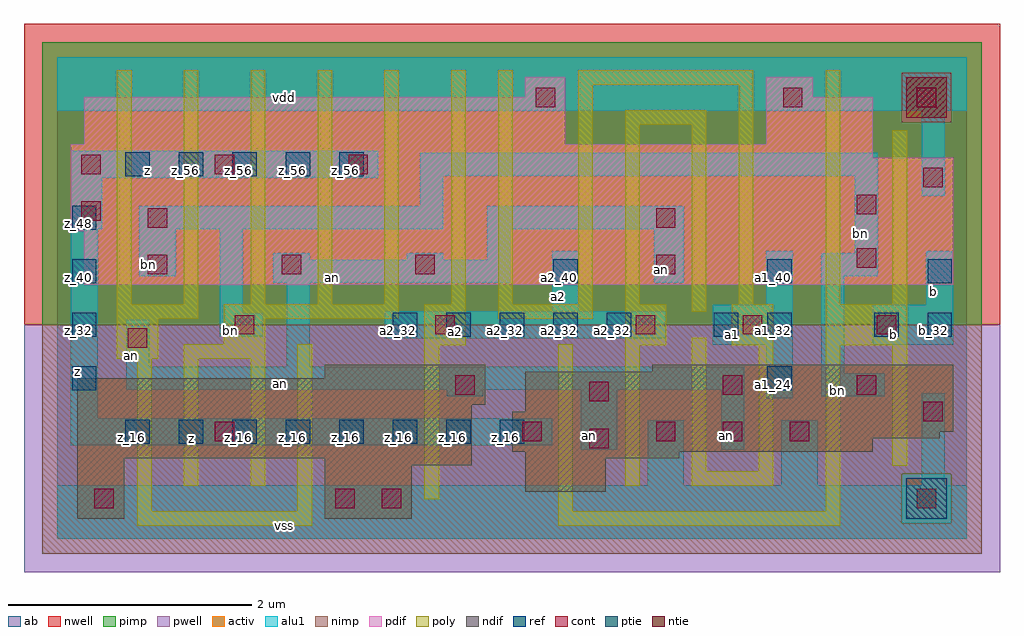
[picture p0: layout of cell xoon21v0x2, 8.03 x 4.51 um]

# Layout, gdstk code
import gdstk
lib = gdstk.Library(unit=1e-6, precision=2.5e-09)
def R(c, l, rs):  # rectangles x0, y0, x1, y1
    for r in rs: c.add(gdstk.rectangle(r[:2], r[2:], *l))
def A(c, l, x, y, w, h, nx, ny, dx, dy):  # array of equal rectangles
    R(c, l, [(x+i*dx, y+j*dy, x+i*dx+w, y+j*dy+h) for i in range(nx) for j in range(ny)])
ndif = (3, 0)
pdif = (4, 0)
ntie = (5, 0)
ptie = (6, 0)
ref = (24, 0)
cont = (25, 0)
pwell = (41, 0)
nwell = (42, 0)
activ = (43, 0)
pimp = (44, 0)
nimp = (45, 0)
poly = (46, 0)
alu1 = (49, 0)
ab = (63, 0)

xoon21v0x2 = lib.new_cell('xoon21v0x2')
R(xoon21v0x2, ndif, [(0.165,0.165,0.55,0.66), (2.2,0.165,2.915,0.605), (3.85,0.385,4.51,0.66), (2.2,0.605,3.41,0.66), (0.165,0.66,3.41,1.1), (3.85,0.66,5.115,0.715), (3.74,0.715,6.71,0.825), (3.74,0.825,7.26,0.88), (3.74,0.88,7.37,1.045), (3.85,1.045,7.37,1.375), (0.165,1.1,3.52,1.32), (2.2,1.32,3.52,1.43), (4.895,1.375,7.37,1.43)])
R(xoon21v0x2, pdif, [(0.22,2.09,7.37,2.53), (0.11,2.53,7.37,3.135), (0.11,3.135,6.71,3.245), (0.22,3.245,4.18,3.63), (5.83,3.245,6.71,3.63), (3.85,3.63,4.18,3.795), (5.83,3.63,6.215,3.795)])
R(xoon21v0x2, ntie, [(6.985,3.465,7.315,3.795)])
R(xoon21v0x2, ptie, [(6.985,0.165,7.315,0.495)])
A(xoon21v0x2, ref, 0.56, 0.78, 0.2, 0.2, 8, 1, 0.44, 0)
A(xoon21v0x2, ref, 0.12, 1.22, 0.2, 0.2, 1, 4, 0, 0.44)
A(xoon21v0x2, ref, 5.84, 1.22, 0.2, 0.2, 1, 3, 0, 0.44)
A(xoon21v0x2, ref, 2.76, 1.66, 0.2, 0.2, 5, 1, 0.44, 0)
A(xoon21v0x2, ref, 0.56, 2.98, 0.2, 0.2, 5, 1, 0.44, 0)
R(xoon21v0x2, ref, [(5.4,1.66,5.6,1.86), (6.72,1.66,6.92,1.86), (7.16,1.66,7.36,1.86), (4.08,2.1,4.28,2.3), (7.16,2.1,7.36,2.3)])
A(xoon21v0x2, cont, 4.925, 0.8, 0.16, 0.16, 3, 1, 0.55, 0)
A(xoon21v0x2, cont, 1.46, 1.68, 0.16, 0.16, 3, 1, 1.65, 0)
A(xoon21v0x2, cont, 0.745, 2.175, 0.16, 0.16, 3, 1, 1.1, 0)
A(xoon21v0x2, cont, 0.195, 3, 0.16, 0.16, 3, 1, 1.1, 0)
R(xoon21v0x2, cont, [(0.305,0.25,0.465,0.41), (2.285,0.25,2.445,0.41), (2.67,0.25,2.83,0.41), (7.07,0.25,7.23,0.41), (4.375,0.745,4.535,0.905), (1.295,0.8,1.455,0.96), (3.825,0.8,3.985,0.96), (7.125,0.965,7.285,1.125), (4.375,1.13,4.535,1.29), (3.275,1.185,3.435,1.345), (5.475,1.185,5.635,1.345), (6.575,1.185,6.735,1.345), (0.58,1.57,0.74,1.73), (5.64,1.68,5.8,1.84), (6.74,1.68,6.9,1.84), (4.925,2.175,5.085,2.335), (6.575,2.23,6.735,2.39), (0.745,2.56,0.905,2.72), (4.925,2.56,5.085,2.72), (0.195,2.615,0.355,2.775), (6.575,2.67,6.735,2.83), (7.125,2.89,7.285,3.05), (3.935,3.55,4.095,3.71), (5.97,3.55,6.13,3.71), (7.07,3.55,7.23,3.71)])
R(xoon21v0x2, pwell, [(-0.275,-0.275,7.755,1.76)])
R(xoon21v0x2, nwell, [(-0.275,1.76,7.755,4.235)])
R(xoon21v0x2, activ, [(0.165,0.165,0.55,0.66), (2.2,0.165,2.915,0.605), (6.985,0.165,7.315,0.495), (3.85,0.385,4.51,0.66), (2.2,0.605,3.41,0.66), (0.165,0.66,3.41,1.1), (3.85,0.66,5.115,0.715), (3.74,0.715,6.71,0.825), (3.74,0.825,7.26,0.88), (3.74,0.88,7.37,1.045), (3.85,1.045,7.37,1.375), (0.165,1.1,3.52,1.32), (2.2,1.32,3.52,1.43), (4.895,1.375,7.37,1.43), (0.22,2.09,7.37,2.53), (0.11,2.53,7.37,3.135), (0.11,3.135,6.71,3.245), (0.22,3.245,4.18,3.63), (5.83,3.245,6.71,3.63), (6.985,3.465,7.315,3.795), (3.85,3.63,4.18,3.795), (5.83,3.63,6.215,3.795)])
R(xoon21v0x2, pimp, [(6.945,0.125,7.355,0.535), (-0.125,1.76,7.605,3.425), (-0.125,3.425,6.945,3.835), (7.355,3.425,7.605,3.835), (-0.125,3.835,7.605,4.085)])
R(xoon21v0x2, nimp, [(-0.125,-0.125,7.605,0.125), (-0.125,0.125,6.945,0.535), (7.355,0.125,7.605,0.535), (-0.125,0.535,7.605,1.76), (6.945,3.425,7.355,3.835)])
A(xoon21v0x2, poly, 0.49, 1.93, 0.12, 1.925, 6, 1, 0.55, 0)
R(xoon21v0x2, poly, [(0.655,0.105,2.095,0.225), (4.12,0.105,6.44,0.225), (0.655,0.225,0.775,1.48), (1.975,0.225,2.095,1.6), (4.12,0.225,4.24,1.6), (6.32,0.225,6.44,1.59), (3.02,0.325,3.14,1.59), (1.04,0.435,1.16,1.48), (1.59,0.435,1.71,1.48), (4.67,0.435,4.79,1.59), (5.22,0.435,5.89,0.555), (5.22,0.555,5.34,1.655), (5.77,0.555,5.89,1.59), (6.87,0.6,6.99,1.59), (0.49,1.48,0.83,1.81), (1.04,1.48,1.71,1.6), (3.02,1.59,3.36,1.93), (4.67,1.59,5.01,1.93), (5.55,1.59,5.89,1.93), (6.32,1.59,6.99,1.93), (1.37,1.6,1.71,1.81), (0.49,1.81,1.16,1.93), (1.37,1.81,2.81,1.93), (3.625,1.81,4.405,1.93), (5.22,1.865,5.34,3.405), (3.625,1.93,3.745,3.855), (4.285,1.93,4.405,3.735), (4.67,1.93,4.79,3.405), (5.605,1.93,5.725,3.735), (6.32,1.93,6.44,3.855), (6.87,1.93,6.99,3.36), (4.67,3.405,5.34,3.525), (4.285,3.735,5.725,3.855)])
R(xoon21v0x2, alu1, [(0,0,7.48,0.44), (4.855,0.44,5.155,0.975), (5.955,0.44,6.255,0.975), (7.11,0.44,7.3,1.195), (4.305,0.73,4.605,1.225), (5.46,0.73,5.65,1.225), (0.11,0.77,4.07,0.99), (0.11,0.99,0.33,2.545), (5.83,1.155,6.05,1.595), (3.205,1.17,3.505,1.225), (6.285,1.17,6.805,1.36), (0.565,1.225,5.65,1.415), (6.285,1.36,6.475,2.16), (0.565,1.415,0.755,1.8), (1.885,1.415,2.075,2.105), (5.39,1.595,6.05,1.925), (6.71,1.595,7.37,1.925), (2.695,1.65,5.005,1.87), (1.335,1.665,1.69,1.855), (1.335,1.855,1.525,2.545), (4.07,1.87,4.29,2.365), (5.83,1.925,6.05,2.365), (7.15,1.925,7.37,2.365), (1.775,2.105,3.725,2.295), (4.91,2.105,5.155,2.545), (0.675,2.16,0.975,2.545), (6.285,2.16,6.75,2.35), (1.775,2.295,2.075,2.35), (2.875,2.295,3.175,2.35), (3.535,2.295,3.725,2.545), (6.56,2.35,6.75,2.985), (0.11,2.545,0.37,2.97), (0.675,2.545,3.175,2.735), (3.535,2.545,5.155,2.735), (2.985,2.735,3.175,2.985), (7.11,2.82,7.3,3.52), (0.11,2.97,2.64,3.19), (2.985,2.985,6.75,3.175), (0,3.52,7.48,3.96)])
R(xoon21v0x2, ab, [(0,0,7.48,3.96)])
xoon21v0x2.add(gdstk.Label('vss', (1.87,0.11), layer=49, texttype=0))
xoon21v0x2.add(gdstk.Label('bn', (6.415,1.2175), layer=49, texttype=0))
xoon21v0x2.add(gdstk.Label('b', (6.875,1.6775), layer=49, texttype=0))
xoon21v0x2.add(gdstk.Label('b', (7.205,2.035), layer=49, texttype=0))
xoon21v0x2.add(gdstk.Label('an', (5.5075,0.8525), layer=49, texttype=0))
xoon21v0x2.add(gdstk.Label('an', (4.38,0.8525), layer=49, texttype=0))
xoon21v0x2.add(gdstk.Label('z', (1.1,0.825), layer=49, texttype=0))
xoon21v0x2.add(gdstk.Label('an', (1.835,1.2725), layer=49, texttype=0))
xoon21v0x2.add(gdstk.Label('a1', (5.555,1.6775), layer=49, texttype=0))
xoon21v0x2.add(gdstk.Label('a2', (3.2725,1.705), layer=49, texttype=0))
xoon21v0x2.add(gdstk.Label('bn', (6.6075,2.5075), layer=49, texttype=0))
xoon21v0x2.add(gdstk.Label('an', (4.97,2.215), layer=49, texttype=0))
xoon21v0x2.add(gdstk.Label('a2', (4.125,1.9925), layer=49, texttype=0))
xoon21v0x2.add(gdstk.Label('bn', (1.4225,1.7125), layer=49, texttype=0))
xoon21v0x2.add(gdstk.Label('an', (0.6125,1.51), layer=49, texttype=0))
xoon21v0x2.add(gdstk.Label('an', (2.2625,2.1525), layer=49, texttype=0))
xoon21v0x2.add(gdstk.Label('bn', (0.75,2.255), layer=49, texttype=0))
xoon21v0x2.add(gdstk.Label('z', (0.165,1.3775), layer=49, texttype=0))
xoon21v0x2.add(gdstk.Label('z', (0.7425,3.025), layer=49, texttype=0))
xoon21v0x2.add(gdstk.Label('vdd', (1.87,3.63), layer=49, texttype=0))
xoon21v0x2.add(gdstk.Label('a2_32', (4.57,1.71), layer=24, texttype=0))
xoon21v0x2.add(gdstk.Label('a2_40', (4.13,2.15), layer=24, texttype=0))
xoon21v0x2.add(gdstk.Label('a2_32', (4.13,1.71), layer=24, texttype=0))
xoon21v0x2.add(gdstk.Label('a2_32', (3.69,1.71), layer=24, texttype=0))
xoon21v0x2.add(gdstk.Label('z_16', (3.69,0.83), layer=24, texttype=0))
xoon21v0x2.add(gdstk.Label('a2_32', (3.25,1.71), layer=24, texttype=0))
xoon21v0x2.add(gdstk.Label('z_16', (3.25,0.83), layer=24, texttype=0))
xoon21v0x2.add(gdstk.Label('a2_32', (2.81,1.71), layer=24, texttype=0))
xoon21v0x2.add(gdstk.Label('z_16', (2.81,0.83), layer=24, texttype=0))
xoon21v0x2.add(gdstk.Label('z_56', (2.37,3.03), layer=24, texttype=0))
xoon21v0x2.add(gdstk.Label('z_16', (2.37,0.83), layer=24, texttype=0))
xoon21v0x2.add(gdstk.Label('z_48', (0.17,2.59), layer=24, texttype=0))
xoon21v0x2.add(gdstk.Label('z_40', (0.17,2.15), layer=24, texttype=0))
xoon21v0x2.add(gdstk.Label('z_32', (0.17,1.71), layer=24, texttype=0))
xoon21v0x2.add(gdstk.Label('z_24', (0.17,1.27), layer=24, texttype=0))
xoon21v0x2.add(gdstk.Label('z_56', (1.93,3.03), layer=24, texttype=0))
xoon21v0x2.add(gdstk.Label('z_16', (1.93,0.83), layer=24, texttype=0))
xoon21v0x2.add(gdstk.Label('z_56', (1.49,3.03), layer=24, texttype=0))
xoon21v0x2.add(gdstk.Label('z_16', (1.49,0.83), layer=24, texttype=0))
xoon21v0x2.add(gdstk.Label('z_56', (1.05,3.03), layer=24, texttype=0))
xoon21v0x2.add(gdstk.Label('z_16', (1.05,0.83), layer=24, texttype=0))
xoon21v0x2.add(gdstk.Label('b_40', (7.21,2.15), layer=24, texttype=0))
xoon21v0x2.add(gdstk.Label('b_32', (7.21,1.71), layer=24, texttype=0))
xoon21v0x2.add(gdstk.Label('b_32', (6.77,1.71), layer=24, texttype=0))
xoon21v0x2.add(gdstk.Label('z_56', (0.61,3.03), layer=24, texttype=0))
xoon21v0x2.add(gdstk.Label('z_16', (0.61,0.83), layer=24, texttype=0))
xoon21v0x2.add(gdstk.Label('a1_40', (5.89,2.15), layer=24, texttype=0))
xoon21v0x2.add(gdstk.Label('a1_32', (5.89,1.71), layer=24, texttype=0))
xoon21v0x2.add(gdstk.Label('a1_24', (5.89,1.27), layer=24, texttype=0))
xoon21v0x2.add(gdstk.Label('a1_32', (5.45,1.71), layer=24, texttype=0))

lib.write_gds('xoon21v0x2.gds')
